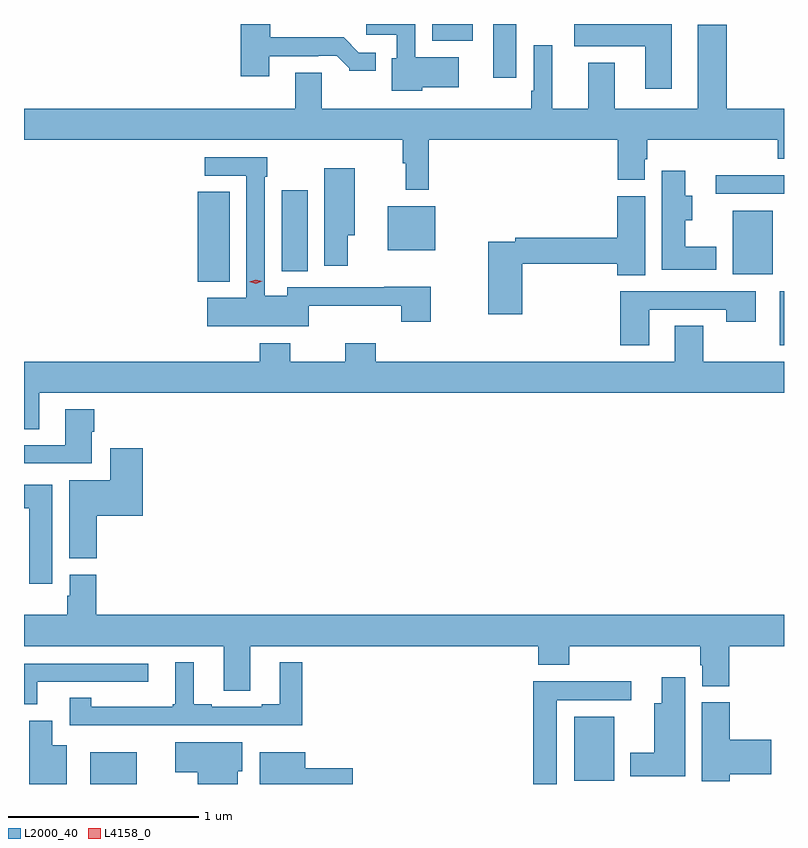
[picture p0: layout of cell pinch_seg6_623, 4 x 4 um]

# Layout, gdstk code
import gdstk
lib = gdstk.Library(unit=1e-6, precision=1e-09)
def R(c, l, rs):  # rectangles x0, y0, x1, y1
    for r in rs: c.add(gdstk.rectangle(r[:2], r[2:], *l))
def P(c, l, *ps):  # polygons
    for p in ps: c.add(gdstk.Polygon(p, *l))
L2000_40 = (2000, 40)
L4158_0 = (4158, 0)

pinch_seg6_623 = lib.new_cell('pinch_seg6_623')
R(pinch_seg6_623, L2000_40, [(376.583,966.59,376.828,966.757), (379.13,966.608,379.342,966.943), (380.213,968.898,380.235,969.184), (377.15,969.233,377.317,969.707), (379.964,969.272,380.176,969.607), (377.591,969.289,377.728,969.715), (378.149,969.398,378.4,969.631), (379.875,969.696,380.235,969.794), (378.704,970.308,378.826,970.59), (378.384,970.503,378.598,970.59)])
P(pinch_seg6_623, L2000_40, [(378.33,970.256),(378.523,970.256),(378.523,970.414),(378.294,970.414),(378.294,970.59),(378.035,970.59),(378.035,970.533),(378.198,970.533),(378.198,970.41),(378.17,970.41),(378.17,970.238),(378.33,970.238)],
  [(379.645,970.59),(379.13,970.59),(379.13,970.472),(379.505,970.472),(379.505,970.248),(379.645,970.248)],
  [(377.527,970.419),(377.783,970.419),(377.783,970.422),(377.882,970.422),(377.946,970.358),(377.946,970.343),(378.085,970.343),(378.085,970.44),(377.997,970.44),(377.919,970.519),(377.53,970.519),(377.53,970.59),(377.375,970.59),(377.375,970.314),(377.527,970.314)],
  [(378.365,969.98),(379.361,969.98),(379.361,969.769),(379.501,969.769),(379.501,969.879),(379.514,969.879),(379.514,969.98),(380.201,969.98),(380.201,969.881),(380.235,969.881),(380.235,970.144),(379.934,970.144),(379.934,970.585),(379.781,970.585),(379.781,970.144),(379.345,970.144),(379.345,970.387),(379.205,970.387),(379.205,970.144),(379.016,970.144),(379.016,970.477),(378.918,970.477),(378.918,970.24),(378.906,970.24),(378.906,970.144),(377.803,970.144),(377.803,970.334),(377.663,970.334),(377.663,970.144),(376.235,970.144),(376.235,969.98),(378.229,969.98),(378.229,969.857),(378.244,969.857),(378.244,969.717),(378.365,969.717)],
  [(377.734,969.107),(378.22,969.107),(378.22,969.024),(378.375,969.024),(378.375,969.206),(378.131,969.206),(378.131,969.204),(377.621,969.204),(377.621,969.16),(377.502,969.16),(377.502,969.785),(377.515,969.785),(377.515,969.888),(377.187,969.888),(377.187,969.792),(377.406,969.792),(377.406,969.148),(377.199,969.148),(377.199,968.999),(377.734,968.999)],
  [(377.938,969.479),(377.977,969.479),(377.977,969.832),(377.816,969.832),(377.816,969.318),(377.938,969.318)],
  [(379.879,969.418),(379.714,969.418),(379.714,969.557),(379.753,969.557),(379.753,969.687),(379.714,969.687),(379.714,969.817),(379.592,969.817),(379.592,969.296),(379.879,969.296)],
  [(378.857,969.328),(379.358,969.328),(379.358,969.268),(379.504,969.268),(379.504,969.684),(379.358,969.684),(379.358,969.464),(378.82,969.464),(378.82,969.444),(378.679,969.444),(378.679,969.063),(378.857,969.063)],
  [(379.525,969.087),(379.93,969.087),(379.93,969.024),(380.086,969.024),(380.086,969.183),(379.373,969.183),(379.373,968.898),(379.525,968.898)],
  [(376.315,968.648),(380.235,968.648),(380.235,968.812),(379.809,968.812),(379.809,969.002),(379.661,969.002),(379.661,968.812),(378.086,968.812),(378.086,968.911),(377.926,968.911),(377.926,968.812),(377.637,968.812),(377.637,968.911),(377.477,968.911),(377.477,968.812),(376.235,968.812),(376.235,968.458),(376.315,968.458)],
  [(376.591,968.443),(376.604,968.443),(376.604,968.563),(376.451,968.563),(376.451,968.373),(376.235,968.373),(376.235,968.277),(376.591,968.277)],
  [(376.619,968.003),(376.859,968.003),(376.859,968.356),(376.688,968.356),(376.688,968.188),(376.472,968.188),(376.472,967.777),(376.619,967.777)],
  [(376.384,968.164),(376.235,968.164),(376.235,968.042),(376.262,968.042),(376.262,967.644),(376.384,967.644)],
  [(377.425,967.316),(378.941,967.316),(378.941,967.217),(379.106,967.217),(379.106,967.316),(379.793,967.316),(379.793,967.215),(379.805,967.215),(379.805,967.105),(379.946,967.105),(379.946,967.316),(380.235,967.316),(380.235,967.48),(376.616,967.48),(376.616,967.692),(376.475,967.692),(376.475,967.581),(376.463,967.581),(376.463,967.48),(376.235,967.48),(376.235,967.316),(377.285,967.316),(377.285,967.081),(377.425,967.081)],
  [(376.924,966.9),(377.699,966.9),(377.699,967.231),(377.582,967.231),(377.582,967.009),(377.486,967.009),(377.486,966.996),(377.224,966.996),(377.224,967.009),(377.128,967.009),(377.128,967.231),(377.03,967.231),(377.03,967.009),(377.019,967.009),(377.019,966.997),(376.589,966.997),(376.589,967.043),(376.476,967.043),(376.476,966.899),(376.924,966.899)],
  [(376.306,967.128),(376.888,967.128),(376.888,967.224),(376.235,967.224),(376.235,967.009),(376.306,967.009)],
  [(379.714,967.153),(379.592,967.153),(379.592,967.015),(379.553,967.015),(379.553,966.754),(379.427,966.754),(379.427,966.632),(379.714,966.632)],
  [(379.039,967.032),(379.432,967.032),(379.432,967.13),(378.914,967.13),(378.914,966.59),(379.039,966.59)],
  [(379.949,966.641),(380.167,966.641),(380.167,966.824),(379.949,966.824),(379.949,967.02),(379.802,967.02),(379.802,966.604),(379.949,966.604)],
  [(376.459,966.793),(376.384,966.793),(376.384,966.924),(376.262,966.924),(376.262,966.59),(376.459,966.59)],
  [(377.359,966.657),(377.383,966.657),(377.383,966.811),(377.031,966.811),(377.031,966.653),(377.15,966.653),(377.15,966.59),(377.359,966.59)],
  [(377.965,966.674),(377.716,966.674),(377.716,966.757),(377.477,966.757),(377.477,966.59),(377.965,966.59)])
P(pinch_seg6_623, L4158_0, [(377.455,969.224),(377.42,969.233),(377.42,969.233),(377.42,969.233),(377.455,969.244),(377.49,969.235),(377.49,969.235),(377.49,969.235)])

lib.write_gds('pinch_seg6_623.gds')
